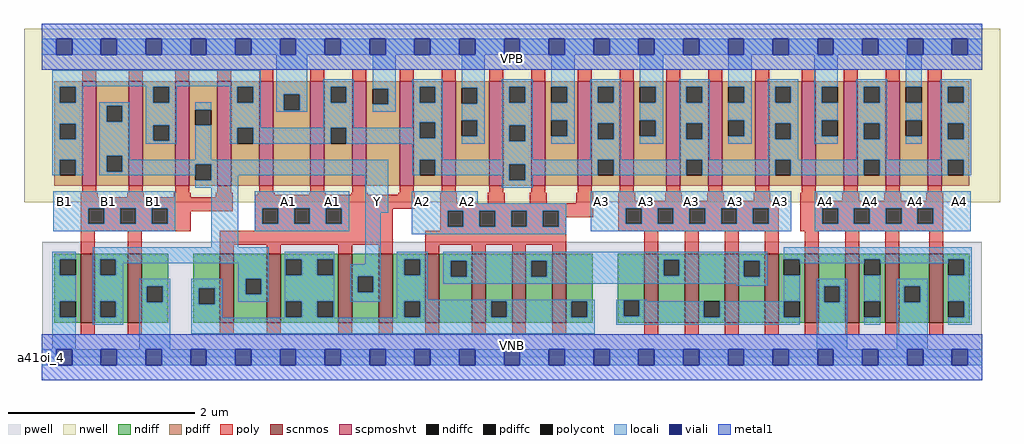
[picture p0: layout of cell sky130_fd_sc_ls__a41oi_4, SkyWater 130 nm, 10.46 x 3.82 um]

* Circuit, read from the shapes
.subckt sky130_fd_sc_ls__a41oi_4 A1 A2 A3 A4 B1 VGND VNB VPB VPWR Y
XM1 Y B1 VGND VNB sky130_fd_pr__nfet_01v8 w=0.74 l=0.15 m=2
XM2 Y A1 n1 VNB sky130_fd_pr__nfet_01v8 w=0.74 l=0.15 m=4
XM3 n2 A2 n1 VNB sky130_fd_pr__nfet_01v8 w=0.74 l=0.15 m=4
XM4 n2 A3 n3 VNB sky130_fd_pr__nfet_01v8 w=0.74 l=0.15 m=4
XM5 VGND A4 n3 VNB sky130_fd_pr__nfet_01v8 w=0.74 l=0.15 m=4
XM6 Y B1 n4 VPB sky130_fd_pr__pfet_01v8_hvt w=1.12 l=0.15 m=4
XM7 VPWR A1 n4 VPB sky130_fd_pr__pfet_01v8_hvt w=1.12 l=0.15 m=4
XM8 VPWR A2 n4 VPB sky130_fd_pr__pfet_01v8_hvt w=1.12 l=0.15 m=4
XM9 VPWR A3 n4 VPB sky130_fd_pr__pfet_01v8_hvt w=1.12 l=0.15 m=4
XM10 VPWR A4 n4 VPB sky130_fd_pr__pfet_01v8_hvt w=1.12 l=0.15 m=4
.ends

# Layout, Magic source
magic
tech sky130A
magscale 1 2
<< nwell >>
rect -38 332 2054 704
<< pwell >>
rect 1 49 2015 248
rect 0 0 2016 49
<< scnmos >>
rect 84 74 114 222
rect 184 74 214 222
rect 382 74 412 222
rect 482 74 512 222
rect 636 74 666 222
rect 722 74 752 222
rect 822 74 852 222
rect 922 74 952 222
rect 1008 74 1038 222
rect 1094 74 1124 222
rect 1292 74 1322 222
rect 1378 74 1408 222
rect 1464 74 1494 222
rect 1550 74 1580 222
rect 1636 74 1666 222
rect 1722 74 1752 222
rect 1808 74 1838 222
rect 1902 74 1932 222
<< scpmoshvt >>
rect 87 368 117 592
rect 186 368 216 592
rect 286 368 316 592
rect 376 368 406 592
rect 466 368 496 592
rect 576 368 606 592
rect 666 368 696 592
rect 767 368 797 592
rect 857 368 887 592
rect 959 368 989 592
rect 1049 368 1079 592
rect 1149 368 1179 592
rect 1239 368 1269 592
rect 1339 368 1369 592
rect 1429 368 1459 592
rect 1529 368 1559 592
rect 1629 368 1659 592
rect 1719 368 1749 592
rect 1809 368 1839 592
rect 1899 368 1929 592
<< ndiff >>
rect 27 210 84 222
rect 27 176 39 210
rect 73 176 84 210
rect 27 120 84 176
rect 27 86 39 120
rect 73 86 84 120
rect 27 74 84 86
rect 114 210 184 222
rect 114 176 125 210
rect 159 176 184 210
rect 114 120 184 176
rect 114 86 125 120
rect 159 86 184 120
rect 114 74 184 86
rect 214 152 271 222
rect 214 118 225 152
rect 259 118 271 152
rect 214 74 271 118
rect 325 148 382 222
rect 325 114 337 148
rect 371 114 382 148
rect 325 74 382 114
rect 412 169 482 222
rect 412 135 437 169
rect 471 135 482 169
rect 412 74 482 135
rect 512 210 636 222
rect 512 176 523 210
rect 557 176 591 210
rect 625 176 636 210
rect 512 120 636 176
rect 512 86 523 120
rect 557 86 591 120
rect 625 86 636 120
rect 512 74 636 86
rect 666 174 722 222
rect 666 140 677 174
rect 711 140 722 174
rect 666 74 722 140
rect 752 210 822 222
rect 752 176 777 210
rect 811 176 822 210
rect 752 120 822 176
rect 752 86 777 120
rect 811 86 822 120
rect 752 74 822 86
rect 852 207 922 222
rect 852 173 877 207
rect 911 173 922 207
rect 852 74 922 173
rect 952 120 1008 222
rect 952 86 963 120
rect 997 86 1008 120
rect 952 74 1008 86
rect 1038 207 1094 222
rect 1038 173 1049 207
rect 1083 173 1094 207
rect 1038 74 1094 173
rect 1124 120 1181 222
rect 1124 86 1135 120
rect 1169 86 1181 120
rect 1124 74 1181 86
rect 1235 122 1292 222
rect 1235 88 1247 122
rect 1281 88 1292 122
rect 1235 74 1292 88
rect 1322 209 1378 222
rect 1322 175 1333 209
rect 1367 175 1378 209
rect 1322 74 1378 175
rect 1408 120 1464 222
rect 1408 86 1419 120
rect 1453 86 1464 120
rect 1408 74 1464 86
rect 1494 207 1550 222
rect 1494 173 1505 207
rect 1539 173 1550 207
rect 1494 74 1550 173
rect 1580 210 1636 222
rect 1580 176 1591 210
rect 1625 176 1636 210
rect 1580 120 1636 176
rect 1580 86 1591 120
rect 1625 86 1636 120
rect 1580 74 1636 86
rect 1666 152 1722 222
rect 1666 118 1677 152
rect 1711 118 1722 152
rect 1666 74 1722 118
rect 1752 210 1808 222
rect 1752 176 1763 210
rect 1797 176 1808 210
rect 1752 120 1808 176
rect 1752 86 1763 120
rect 1797 86 1808 120
rect 1752 74 1808 86
rect 1838 152 1902 222
rect 1838 118 1849 152
rect 1883 118 1902 152
rect 1838 74 1902 118
rect 1932 210 1989 222
rect 1932 176 1943 210
rect 1977 176 1989 210
rect 1932 120 1989 176
rect 1932 86 1943 120
rect 1977 86 1989 120
rect 1932 74 1989 86
<< pdiff >>
rect 27 580 87 592
rect 27 546 39 580
rect 73 546 87 580
rect 27 501 87 546
rect 27 467 39 501
rect 73 467 87 501
rect 27 424 87 467
rect 27 390 39 424
rect 73 390 87 424
rect 27 368 87 390
rect 117 539 186 592
rect 117 505 139 539
rect 173 505 186 539
rect 117 432 186 505
rect 117 398 139 432
rect 173 398 186 432
rect 117 368 186 398
rect 216 580 286 592
rect 216 546 239 580
rect 273 546 286 580
rect 216 498 286 546
rect 216 464 239 498
rect 273 464 286 498
rect 216 368 286 464
rect 316 531 376 592
rect 316 497 329 531
rect 363 497 376 531
rect 316 414 376 497
rect 316 380 329 414
rect 363 380 376 414
rect 316 368 376 380
rect 406 580 466 592
rect 406 546 419 580
rect 453 546 466 580
rect 406 492 466 546
rect 406 458 419 492
rect 453 458 466 492
rect 406 368 466 458
rect 496 564 576 592
rect 496 530 519 564
rect 553 530 576 564
rect 496 368 576 530
rect 606 580 666 592
rect 606 546 619 580
rect 653 546 666 580
rect 606 492 666 546
rect 606 458 619 492
rect 653 458 666 492
rect 606 368 666 458
rect 696 576 767 592
rect 696 542 709 576
rect 743 542 767 576
rect 696 368 767 542
rect 797 580 857 592
rect 797 546 810 580
rect 844 546 857 580
rect 797 504 857 546
rect 797 470 810 504
rect 844 470 857 504
rect 797 424 857 470
rect 797 390 810 424
rect 844 390 857 424
rect 797 368 857 390
rect 887 578 959 592
rect 887 544 900 578
rect 934 544 959 578
rect 887 508 959 544
rect 887 474 900 508
rect 934 474 959 508
rect 887 368 959 474
rect 989 580 1049 592
rect 989 546 1002 580
rect 1036 546 1049 580
rect 989 497 1049 546
rect 989 463 1002 497
rect 1036 463 1049 497
rect 989 414 1049 463
rect 989 380 1002 414
rect 1036 380 1049 414
rect 989 368 1049 380
rect 1079 580 1149 592
rect 1079 546 1092 580
rect 1126 546 1149 580
rect 1079 508 1149 546
rect 1079 474 1092 508
rect 1126 474 1149 508
rect 1079 368 1149 474
rect 1179 580 1239 592
rect 1179 546 1192 580
rect 1226 546 1239 580
rect 1179 502 1239 546
rect 1179 468 1192 502
rect 1226 468 1239 502
rect 1179 424 1239 468
rect 1179 390 1192 424
rect 1226 390 1239 424
rect 1179 368 1239 390
rect 1269 580 1339 592
rect 1269 546 1282 580
rect 1316 546 1339 580
rect 1269 508 1339 546
rect 1269 474 1282 508
rect 1316 474 1339 508
rect 1269 368 1339 474
rect 1369 580 1429 592
rect 1369 546 1382 580
rect 1416 546 1429 580
rect 1369 502 1429 546
rect 1369 468 1382 502
rect 1416 468 1429 502
rect 1369 424 1429 468
rect 1369 390 1382 424
rect 1416 390 1429 424
rect 1369 368 1429 390
rect 1459 580 1529 592
rect 1459 546 1472 580
rect 1506 546 1529 580
rect 1459 508 1529 546
rect 1459 474 1472 508
rect 1506 474 1529 508
rect 1459 368 1529 474
rect 1559 580 1629 592
rect 1559 546 1572 580
rect 1606 546 1629 580
rect 1559 502 1629 546
rect 1559 468 1572 502
rect 1606 468 1629 502
rect 1559 424 1629 468
rect 1559 390 1572 424
rect 1606 390 1629 424
rect 1559 368 1629 390
rect 1659 580 1719 592
rect 1659 546 1672 580
rect 1706 546 1719 580
rect 1659 508 1719 546
rect 1659 474 1672 508
rect 1706 474 1719 508
rect 1659 368 1719 474
rect 1749 580 1809 592
rect 1749 546 1762 580
rect 1796 546 1809 580
rect 1749 502 1809 546
rect 1749 468 1762 502
rect 1796 468 1809 502
rect 1749 424 1809 468
rect 1749 390 1762 424
rect 1796 390 1809 424
rect 1749 368 1809 390
rect 1839 580 1899 592
rect 1839 546 1852 580
rect 1886 546 1899 580
rect 1839 508 1899 546
rect 1839 474 1852 508
rect 1886 474 1899 508
rect 1839 368 1899 474
rect 1929 580 1988 592
rect 1929 546 1942 580
rect 1976 546 1988 580
rect 1929 502 1988 546
rect 1929 468 1942 502
rect 1976 468 1988 502
rect 1929 424 1988 468
rect 1929 390 1942 424
rect 1976 390 1988 424
rect 1929 368 1988 390
<< ndiffc >>
rect 39 176 73 210
rect 39 86 73 120
rect 125 176 159 210
rect 125 86 159 120
rect 225 118 259 152
rect 337 114 371 148
rect 437 135 471 169
rect 523 176 557 210
rect 591 176 625 210
rect 523 86 557 120
rect 591 86 625 120
rect 677 140 711 174
rect 777 176 811 210
rect 777 86 811 120
rect 877 173 911 207
rect 963 86 997 120
rect 1049 173 1083 207
rect 1135 86 1169 120
rect 1247 88 1281 122
rect 1333 175 1367 209
rect 1419 86 1453 120
rect 1505 173 1539 207
rect 1591 176 1625 210
rect 1591 86 1625 120
rect 1677 118 1711 152
rect 1763 176 1797 210
rect 1763 86 1797 120
rect 1849 118 1883 152
rect 1943 176 1977 210
rect 1943 86 1977 120
<< pdiffc >>
rect 39 546 73 580
rect 39 467 73 501
rect 39 390 73 424
rect 139 505 173 539
rect 139 398 173 432
rect 239 546 273 580
rect 239 464 273 498
rect 329 497 363 531
rect 329 380 363 414
rect 419 546 453 580
rect 419 458 453 492
rect 519 530 553 564
rect 619 546 653 580
rect 619 458 653 492
rect 709 542 743 576
rect 810 546 844 580
rect 810 470 844 504
rect 810 390 844 424
rect 900 544 934 578
rect 900 474 934 508
rect 1002 546 1036 580
rect 1002 463 1036 497
rect 1002 380 1036 414
rect 1092 546 1126 580
rect 1092 474 1126 508
rect 1192 546 1226 580
rect 1192 468 1226 502
rect 1192 390 1226 424
rect 1282 546 1316 580
rect 1282 474 1316 508
rect 1382 546 1416 580
rect 1382 468 1416 502
rect 1382 390 1416 424
rect 1472 546 1506 580
rect 1472 474 1506 508
rect 1572 546 1606 580
rect 1572 468 1606 502
rect 1572 390 1606 424
rect 1672 546 1706 580
rect 1672 474 1706 508
rect 1762 546 1796 580
rect 1762 468 1796 502
rect 1762 390 1796 424
rect 1852 546 1886 580
rect 1852 474 1886 508
rect 1942 546 1976 580
rect 1942 468 1976 502
rect 1942 390 1976 424
<< poly >>
rect 87 592 117 618
rect 186 592 216 618
rect 286 592 316 618
rect 376 592 406 618
rect 466 592 496 618
rect 576 592 606 618
rect 666 592 696 618
rect 767 592 797 618
rect 857 592 887 618
rect 959 592 989 618
rect 1049 592 1079 618
rect 1149 592 1179 618
rect 1239 592 1269 618
rect 1339 592 1369 618
rect 1429 592 1459 618
rect 1529 592 1559 618
rect 1629 592 1659 618
rect 1719 592 1749 618
rect 1809 592 1839 618
rect 1899 592 1929 618
rect 87 353 117 368
rect 186 353 216 368
rect 286 353 316 368
rect 376 353 406 368
rect 466 353 496 368
rect 576 353 606 368
rect 666 353 696 368
rect 767 353 797 368
rect 857 353 887 368
rect 959 353 989 368
rect 1049 353 1079 368
rect 1149 353 1179 368
rect 1239 353 1269 368
rect 1339 353 1369 368
rect 1429 353 1459 368
rect 1529 353 1559 368
rect 1629 353 1659 368
rect 1719 353 1749 368
rect 1809 353 1839 368
rect 1899 353 1929 368
rect 84 343 120 353
rect 183 343 219 353
rect 283 343 319 353
rect 373 343 409 353
rect 463 349 499 353
rect 573 349 609 353
rect 663 349 699 353
rect 764 349 800 353
rect 84 320 409 343
rect 84 286 100 320
rect 134 286 168 320
rect 202 286 236 320
rect 270 313 409 320
rect 457 320 800 349
rect 270 286 319 313
rect 84 270 319 286
rect 457 286 473 320
rect 507 286 541 320
rect 575 286 609 320
rect 643 319 800 320
rect 854 330 890 353
rect 956 330 992 353
rect 1046 330 1082 353
rect 1146 330 1182 353
rect 643 286 752 319
rect 457 271 752 286
rect 854 314 1182 330
rect 854 280 870 314
rect 904 280 938 314
rect 972 280 1006 314
rect 1040 280 1074 314
rect 1108 300 1182 314
rect 1236 336 1272 353
rect 1336 336 1372 353
rect 1426 336 1462 353
rect 1526 336 1562 353
rect 1626 336 1662 353
rect 1716 336 1752 353
rect 1806 336 1842 353
rect 1896 336 1932 353
rect 1236 320 1580 336
rect 1108 280 1124 300
rect 854 271 1124 280
rect 84 222 114 270
rect 184 222 214 270
rect 382 241 752 271
rect 382 222 412 241
rect 482 222 512 241
rect 636 222 666 241
rect 722 222 752 241
rect 822 241 1124 271
rect 1236 286 1252 320
rect 1286 286 1320 320
rect 1354 286 1388 320
rect 1422 286 1456 320
rect 1490 286 1524 320
rect 1558 286 1580 320
rect 1236 270 1580 286
rect 1626 320 1932 336
rect 1626 286 1673 320
rect 1707 286 1741 320
rect 1775 286 1809 320
rect 1843 286 1877 320
rect 1911 286 1932 320
rect 1626 270 1932 286
rect 822 222 852 241
rect 922 222 952 241
rect 1008 222 1038 241
rect 1094 222 1124 241
rect 1292 222 1322 270
rect 1378 222 1408 270
rect 1464 222 1494 270
rect 1550 222 1580 270
rect 1636 222 1666 270
rect 1722 222 1752 270
rect 1808 222 1838 270
rect 1902 222 1932 270
rect 84 48 114 74
rect 184 48 214 74
rect 382 48 412 74
rect 482 48 512 74
rect 636 48 666 74
rect 722 48 752 74
rect 822 48 852 74
rect 922 48 952 74
rect 1008 48 1038 74
rect 1094 48 1124 74
rect 1292 48 1322 74
rect 1378 48 1408 74
rect 1464 48 1494 74
rect 1550 48 1580 74
rect 1636 48 1666 74
rect 1722 48 1752 74
rect 1808 48 1838 74
rect 1902 48 1932 74
<< polycont >>
rect 100 286 134 320
rect 168 286 202 320
rect 236 286 270 320
rect 473 286 507 320
rect 541 286 575 320
rect 609 286 643 320
rect 870 280 904 314
rect 938 280 972 314
rect 1006 280 1040 314
rect 1074 280 1108 314
rect 1252 286 1286 320
rect 1320 286 1354 320
rect 1388 286 1422 320
rect 1456 286 1490 320
rect 1524 286 1558 320
rect 1673 286 1707 320
rect 1741 286 1775 320
rect 1809 286 1843 320
rect 1877 286 1911 320
<< locali >>
rect 0 649 31 683
rect 65 649 127 683
rect 161 649 223 683
rect 257 649 319 683
rect 353 649 415 683
rect 449 649 511 683
rect 545 649 607 683
rect 641 649 703 683
rect 737 649 799 683
rect 833 649 895 683
rect 929 649 991 683
rect 1025 649 1087 683
rect 1121 649 1183 683
rect 1217 649 1279 683
rect 1313 649 1375 683
rect 1409 649 1471 683
rect 1505 649 1567 683
rect 1601 649 1663 683
rect 1697 649 1759 683
rect 1793 649 1855 683
rect 1889 649 1951 683
rect 1985 649 2016 683
rect 23 581 469 615
rect 23 580 89 581
rect 23 546 39 580
rect 73 546 89 580
rect 223 580 289 581
rect 23 501 89 546
rect 23 467 39 501
rect 73 467 89 501
rect 23 424 89 467
rect 23 390 39 424
rect 73 390 89 424
rect 123 539 189 547
rect 123 505 139 539
rect 173 505 189 539
rect 123 432 189 505
rect 223 546 239 580
rect 273 546 289 580
rect 403 580 469 581
rect 223 498 289 546
rect 223 464 239 498
rect 273 464 289 498
rect 223 458 289 464
rect 329 531 363 547
rect 123 398 139 432
rect 173 424 189 432
rect 329 424 363 497
rect 403 546 419 580
rect 453 546 469 580
rect 403 492 469 546
rect 503 564 569 649
rect 503 530 519 564
rect 553 530 569 564
rect 503 526 569 530
rect 603 580 669 596
rect 603 546 619 580
rect 653 546 669 580
rect 603 492 669 546
rect 709 576 759 649
rect 743 542 759 576
rect 709 526 759 542
rect 794 580 860 596
rect 794 546 810 580
rect 844 546 860 580
rect 794 504 860 546
rect 794 492 810 504
rect 403 458 419 492
rect 453 458 619 492
rect 653 470 810 492
rect 844 470 860 504
rect 653 458 860 470
rect 900 578 950 649
rect 934 544 950 578
rect 900 508 950 544
rect 934 474 950 508
rect 900 458 950 474
rect 986 580 1052 596
rect 986 546 1002 580
rect 1036 546 1052 580
rect 986 497 1052 546
rect 986 463 1002 497
rect 1036 463 1052 497
rect 794 424 860 458
rect 986 424 1052 463
rect 1092 580 1142 649
rect 1126 546 1142 580
rect 1092 508 1142 546
rect 1126 474 1142 508
rect 1092 458 1142 474
rect 1176 580 1242 596
rect 1176 546 1192 580
rect 1226 546 1242 580
rect 1176 502 1242 546
rect 1176 468 1192 502
rect 1226 468 1242 502
rect 1176 424 1242 468
rect 1282 580 1332 649
rect 1316 546 1332 580
rect 1282 508 1332 546
rect 1316 474 1332 508
rect 1282 458 1332 474
rect 1366 580 1432 596
rect 1366 546 1382 580
rect 1416 546 1432 580
rect 1366 502 1432 546
rect 1366 468 1382 502
rect 1416 468 1432 502
rect 1366 424 1432 468
rect 1472 580 1522 649
rect 1506 546 1522 580
rect 1472 508 1522 546
rect 1506 474 1522 508
rect 1472 458 1522 474
rect 1556 580 1622 596
rect 1556 546 1572 580
rect 1606 546 1622 580
rect 1556 502 1622 546
rect 1556 468 1572 502
rect 1606 468 1622 502
rect 1556 424 1622 468
rect 1656 580 1706 649
rect 1656 546 1672 580
rect 1656 508 1706 546
rect 1656 474 1672 508
rect 1656 458 1706 474
rect 1746 580 1812 596
rect 1746 546 1762 580
rect 1796 546 1812 580
rect 1746 502 1812 546
rect 1746 468 1762 502
rect 1796 468 1812 502
rect 1746 424 1812 468
rect 1852 580 1886 649
rect 1852 508 1886 546
rect 1852 458 1886 474
rect 1926 580 1992 596
rect 1926 546 1942 580
rect 1976 546 1992 580
rect 1926 502 1992 546
rect 1926 468 1942 502
rect 1976 468 1992 502
rect 1926 424 1992 468
rect 173 414 743 424
rect 173 398 329 414
rect 123 390 329 398
rect 363 390 743 414
rect 794 390 810 424
rect 844 414 1192 424
rect 844 390 1002 414
rect 363 380 421 390
rect 329 364 421 380
rect 25 320 286 356
rect 25 286 100 320
rect 134 286 168 320
rect 202 286 236 320
rect 270 286 286 320
rect 25 270 286 286
rect 363 236 421 364
rect 457 320 659 356
rect 457 286 473 320
rect 507 286 541 320
rect 575 286 609 320
rect 643 286 659 320
rect 457 270 659 286
rect 693 310 743 390
rect 986 380 1002 390
rect 1036 390 1192 414
rect 1226 390 1382 424
rect 1416 390 1572 424
rect 1606 390 1762 424
rect 1796 390 1942 424
rect 1976 390 1992 424
rect 1036 380 1052 390
rect 986 364 1052 380
rect 793 330 935 356
rect 793 314 1124 330
rect 23 210 73 226
rect 23 176 39 210
rect 23 120 73 176
rect 23 86 39 120
rect 23 17 73 86
rect 109 210 487 236
rect 109 176 125 210
rect 159 202 487 210
rect 159 176 175 202
rect 109 120 175 176
rect 421 169 487 202
rect 109 86 125 120
rect 159 86 175 120
rect 109 70 175 86
rect 209 152 275 168
rect 209 118 225 152
rect 259 118 275 152
rect 209 17 275 118
rect 321 148 387 168
rect 321 114 337 148
rect 371 114 387 148
rect 421 135 437 169
rect 471 135 487 169
rect 421 119 487 135
rect 521 210 627 226
rect 521 176 523 210
rect 557 176 591 210
rect 625 176 627 210
rect 693 200 727 310
rect 793 280 870 314
rect 904 280 938 314
rect 972 280 1006 314
rect 1040 280 1074 314
rect 1108 280 1124 314
rect 793 264 1124 280
rect 1177 320 1607 356
rect 1177 286 1252 320
rect 1286 286 1320 320
rect 1354 286 1388 320
rect 1422 286 1456 320
rect 1490 286 1524 320
rect 1558 286 1607 320
rect 1177 270 1607 286
rect 1657 320 1991 356
rect 1657 286 1673 320
rect 1707 286 1741 320
rect 1775 286 1809 320
rect 1843 286 1877 320
rect 1911 286 1991 320
rect 1657 270 1991 286
rect 521 120 627 176
rect 321 85 387 114
rect 521 86 523 120
rect 557 86 591 120
rect 625 86 627 120
rect 661 174 727 200
rect 661 140 677 174
rect 711 140 727 174
rect 661 119 727 140
rect 761 210 827 226
rect 761 176 777 210
rect 811 176 827 210
rect 761 124 827 176
rect 861 209 1555 226
rect 861 207 1333 209
rect 861 173 877 207
rect 911 173 1049 207
rect 1083 175 1333 207
rect 1367 207 1555 209
rect 1367 175 1505 207
rect 1083 173 1505 175
rect 1539 173 1555 207
rect 861 158 1555 173
rect 1489 154 1555 158
rect 1591 210 1993 236
rect 1625 202 1763 210
rect 761 120 1185 124
rect 521 85 627 86
rect 761 86 777 120
rect 811 86 963 120
rect 997 86 1135 120
rect 1169 86 1185 120
rect 761 85 1185 86
rect 321 51 1185 85
rect 1231 122 1297 124
rect 1231 88 1247 122
rect 1281 120 1297 122
rect 1591 120 1625 176
rect 1797 202 1943 210
rect 1281 88 1419 120
rect 1231 86 1419 88
rect 1453 86 1591 120
rect 1231 70 1625 86
rect 1661 152 1727 168
rect 1661 118 1677 152
rect 1711 118 1727 152
rect 1661 17 1727 118
rect 1763 120 1797 176
rect 1977 176 1993 210
rect 1763 70 1797 86
rect 1833 152 1899 168
rect 1833 118 1849 152
rect 1883 118 1899 152
rect 1833 17 1899 118
rect 1943 120 1993 176
rect 1977 86 1993 120
rect 1943 70 1993 86
rect 0 -17 31 17
rect 65 -17 127 17
rect 161 -17 223 17
rect 257 -17 319 17
rect 353 -17 415 17
rect 449 -17 511 17
rect 545 -17 607 17
rect 641 -17 703 17
rect 737 -17 799 17
rect 833 -17 895 17
rect 929 -17 991 17
rect 1025 -17 1087 17
rect 1121 -17 1183 17
rect 1217 -17 1279 17
rect 1313 -17 1375 17
rect 1409 -17 1471 17
rect 1505 -17 1567 17
rect 1601 -17 1663 17
rect 1697 -17 1759 17
rect 1793 -17 1855 17
rect 1889 -17 1951 17
rect 1985 -17 2016 17
<< viali >>
rect 31 649 65 683
rect 127 649 161 683
rect 223 649 257 683
rect 319 649 353 683
rect 415 649 449 683
rect 511 649 545 683
rect 607 649 641 683
rect 703 649 737 683
rect 799 649 833 683
rect 895 649 929 683
rect 991 649 1025 683
rect 1087 649 1121 683
rect 1183 649 1217 683
rect 1279 649 1313 683
rect 1375 649 1409 683
rect 1471 649 1505 683
rect 1567 649 1601 683
rect 1663 649 1697 683
rect 1759 649 1793 683
rect 1855 649 1889 683
rect 1951 649 1985 683
rect 31 -17 65 17
rect 127 -17 161 17
rect 223 -17 257 17
rect 319 -17 353 17
rect 415 -17 449 17
rect 511 -17 545 17
rect 607 -17 641 17
rect 703 -17 737 17
rect 799 -17 833 17
rect 895 -17 929 17
rect 991 -17 1025 17
rect 1087 -17 1121 17
rect 1183 -17 1217 17
rect 1279 -17 1313 17
rect 1375 -17 1409 17
rect 1471 -17 1505 17
rect 1567 -17 1601 17
rect 1663 -17 1697 17
rect 1759 -17 1793 17
rect 1855 -17 1889 17
rect 1951 -17 1985 17
<< metal1 >>
rect 0 683 2016 715
rect 0 649 31 683
rect 65 649 127 683
rect 161 649 223 683
rect 257 649 319 683
rect 353 649 415 683
rect 449 649 511 683
rect 545 649 607 683
rect 641 649 703 683
rect 737 649 799 683
rect 833 649 895 683
rect 929 649 991 683
rect 1025 649 1087 683
rect 1121 649 1183 683
rect 1217 649 1279 683
rect 1313 649 1375 683
rect 1409 649 1471 683
rect 1505 649 1567 683
rect 1601 649 1663 683
rect 1697 649 1759 683
rect 1793 649 1855 683
rect 1889 649 1951 683
rect 1985 649 2016 683
rect 0 617 2016 649
rect 0 17 2016 49
rect 0 -17 31 17
rect 65 -17 127 17
rect 161 -17 223 17
rect 257 -17 319 17
rect 353 -17 415 17
rect 449 -17 511 17
rect 545 -17 607 17
rect 641 -17 703 17
rect 737 -17 799 17
rect 833 -17 895 17
rect 929 -17 991 17
rect 1025 -17 1087 17
rect 1121 -17 1183 17
rect 1217 -17 1279 17
rect 1313 -17 1375 17
rect 1409 -17 1471 17
rect 1505 -17 1567 17
rect 1601 -17 1663 17
rect 1697 -17 1759 17
rect 1793 -17 1855 17
rect 1889 -17 1951 17
rect 1985 -17 2016 17
rect 0 -49 2016 -17
<< labels >>
rlabel comment s 0 0 0 0 4 a41oi_4
flabel pwell s 0 0 2016 49 0 FreeSans 200 0 0 0 VNB
port 7 nsew ground bidirectional
flabel nwell s 0 617 2016 666 0 FreeSans 200 0 0 0 VPB
port 8 nsew power bidirectional
flabel metal1 s 0 617 2016 666 0 FreeSans 340 0 0 0 VPWR
port 9 nsew power bidirectional abutment
flabel metal1 s 0 0 2016 49 0 FreeSans 340 0 0 0 VGND
port 6 nsew ground bidirectional abutment
flabel locali s 703 316 737 350 0 FreeSans 340 0 0 0 Y
port 10 nsew signal output
flabel locali s 511 316 545 350 0 FreeSans 340 0 0 0 A1
port 1 nsew signal input
flabel locali s 607 316 641 350 0 FreeSans 340 0 0 0 A1
port 1 nsew signal input
flabel locali s 799 316 833 350 0 FreeSans 340 0 0 0 A2
port 2 nsew signal input
flabel locali s 895 316 929 350 0 FreeSans 340 0 0 0 A2
port 2 nsew signal input
flabel locali s 1183 316 1217 350 0 FreeSans 340 0 0 0 A3
port 3 nsew signal input
flabel locali s 1279 316 1313 350 0 FreeSans 340 0 0 0 A3
port 3 nsew signal input
flabel locali s 1375 316 1409 350 0 FreeSans 340 0 0 0 A3
port 3 nsew signal input
flabel locali s 1471 316 1505 350 0 FreeSans 340 0 0 0 A3
port 3 nsew signal input
flabel locali s 1567 316 1601 350 0 FreeSans 340 0 0 0 A3
port 3 nsew signal input
flabel locali s 1663 316 1697 350 0 FreeSans 340 0 0 0 A4
port 4 nsew signal input
flabel locali s 1759 316 1793 350 0 FreeSans 340 0 0 0 A4
port 4 nsew signal input
flabel locali s 1855 316 1889 350 0 FreeSans 340 0 0 0 A4
port 4 nsew signal input
flabel locali s 1951 316 1985 350 0 FreeSans 340 0 0 0 A4
port 4 nsew signal input
flabel locali s 31 316 65 350 0 FreeSans 340 0 0 0 B1
port 5 nsew signal input
flabel locali s 127 316 161 350 0 FreeSans 340 0 0 0 B1
port 5 nsew signal input
flabel locali s 223 316 257 350 0 FreeSans 340 0 0 0 B1
port 5 nsew signal input
<< properties >>
string LEFsite unit
string LEFclass CORE
string FIXED_BBOX 0 0 2016 666
string GDS_FILE $PDKPATH/libs.ref/sky130_fd_sc_ls/gds/sky130_fd_sc_ls.gds
string LEFsymmetry X Y
string GDS_END 622254
string GDS_START 605714
<< end >>
